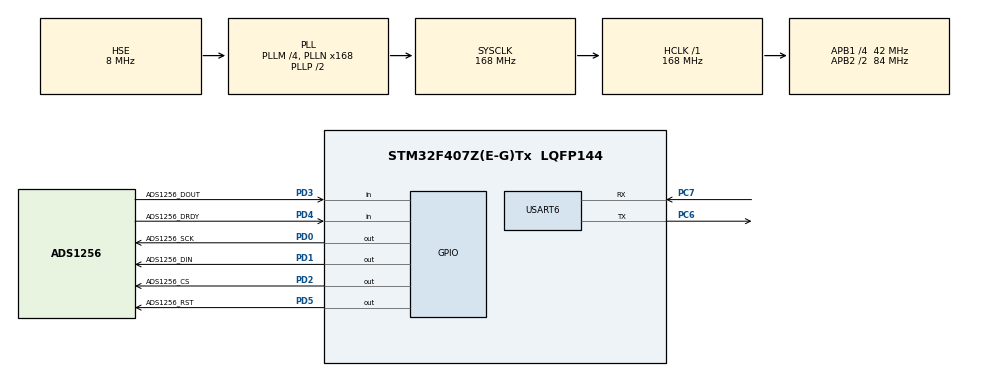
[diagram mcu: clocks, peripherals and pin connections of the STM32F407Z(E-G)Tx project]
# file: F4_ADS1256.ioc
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Mcu.Family=STM32F4
Mcu.Name=STM32F407Z(E-G)Tx
Mcu.Package=LQFP144
NVIC.PriorityGroup=NVIC_PRIORITYGROUP_4
NVIC.TIM2_IRQn=true\:0\:0\:false\:false\:true\:true\:true\:true
PA13.Mode=Serial_Wire
PA13.Signal=SYS_JTMS-SWDIO
PA14.Mode=Serial_Wire
PA14.Signal=SYS_JTCK-SWCLK
PC14-OSC32_IN.Mode=LSE-External-Oscillator
PC14-OSC32_IN.Signal=RCC_OSC32_IN
PC15-OSC32_OUT.Mode=LSE-External-Oscillator
PC15-OSC32_OUT.Signal=RCC_OSC32_OUT
PC6.Mode=Asynchronous
PC6.Signal=USART6_TX
PC7.Mode=Asynchronous
PC7.Signal=USART6_RX
PD0.GPIO_Label=ADS1256_SCK
PD0.GPIO_Speed=GPIO_SPEED_FREQ_VERY_HIGH
PD0.Signal=GPIO_Output
PD1.GPIO_Label=ADS1256_DIN
PD1.GPIO_Speed=GPIO_SPEED_FREQ_VERY_HIGH
PD1.Signal=GPIO_Output
PD2.GPIO_Label=ADS1256_CS
PD2.GPIO_Speed=GPIO_SPEED_FREQ_VERY_HIGH
PD2.Signal=GPIO_Output
PD3.GPIO_Label=ADS1256_DOUT
PD3.Signal=GPIO_Input
PD4.GPIO_Label=ADS1256_DRDY
PD4.GPIO_PuPd=GPIO_PULLDOWN
PD4.Signal=GPIO_Input
PD5.GPIO_Label=ADS1256_RST
PD5.GPIO_Speed=GPIO_SPEED_FREQ_VERY_HIGH
PD5.Signal=GPIO_Output
PH0-OSC_IN.Mode=HSE-External-Oscillator
PH0-OSC_IN.Signal=RCC_OSC_IN
PH1-OSC_OUT.Mode=HSE-External-Oscillator
PH1-OSC_OUT.Signal=RCC_OSC_OUT
ProjectManager.HeapSize=0x200
ProjectManager.StackSize=0x800
ProjectManager.TargetToolchain=STM32CubeIDE
RCC.48MHZClocksFreq_Value=84000000
RCC.AHBFreq_Value=168000000
RCC.APB1CLKDivider=RCC_HCLK_DIV4
RCC.APB1Freq_Value=42000000
RCC.APB1TimFreq_Value=84000000
RCC.APB2CLKDivider=RCC_HCLK_DIV2
RCC.APB2Freq_Value=84000000
RCC.APB2TimFreq_Value=168000000
RCC.CortexFreq_Value=168000000
RCC.HCLKFreq_Value=168000000
RCC.HSE_VALUE=8000000
RCC.HSI_VALUE=16000000
RCC.PLLM=4
RCC.PLLN=168
RCC.PLLSourceVirtual=RCC_PLLSOURCE_HSE
RCC.SYSCLKFreq_VALUE=168000000
RCC.SYSCLKSource=RCC_SYSCLKSOURCE_PLLCLK
RCC.VCOOutputFreq_Value=336000000
TIM2.AutoReloadPreload=TIM_AUTORELOAD_PRELOAD_ENABLE
TIM2.Period=100-1
TIM2.Prescaler=840-1
USART6.VirtualMode=VM_ASYNC
VP_TIM2_VS_ClockSourceINT.Mode=Internal
board=custom

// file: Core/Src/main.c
/* USER CODE BEGIN Header */
/**
  ******************************************************************************
  * @file           : main.c
  * @brief          : Main program body
  ******************************************************************************
  * @attention
  *
  * Copyright (c) 2022 STMicroelectronics.
  * All rights reserved.
  *
  * This software is licensed under terms that can be found in the LICENSE file
  * in the root directory of this software component.
  * If no LICENSE file comes with this software, it is provided AS-IS.
  *
  ******************************************************************************
  */
/* USER CODE END Header */
#include "main.h"
#include "tim.h"
#include "usart.h"
#include "gpio.h"

/* USER CODE BEGIN Includes */
#include "base.h"
#include "ADS1256.h"
#include "stdlib.h"
#include "string.h"
#include "stdio.h"
#include "stdarg.h"
/* USER CODE END Includes */

/* USER CODE BEGIN PTD */
u16 Get_flag=0;
float volt = 0;
uint32_t adc;
/* USER CODE END PTD */

/* USER CODE BEGIN PD */
#define Num 10
/* USER CODE END PD */

void SystemClock_Config(void);

/* USER CODE BEGIN 0 */
/**
 * @brief  多串口重定向
 * @retval None
 **/
void print(UART_HandleTypeDef* huart, const char* buf, ...)
{
  char str[2048] = {0};
  va_list v;
  va_start(v, buf);
  vsprintf(str, buf, v); 	//使用可变参数的字符串打印。类似sprintf
  HAL_UART_Transmit(huart,(uint8_t*)str,strlen(str),0xffff);
  va_end(v);
}

void Get_AD_Value()
{
	Get_flag=0;
	HAL_TIM_Base_Start_IT(&htim2);
	while(Get_flag!=Num){}
	print(&huart6,"%.2f\r\n",volt);
	HAL_TIM_Base_Stop_IT(&htim2);

}
/* USER CODE END 0 */

int main(void)
{

  /* MCU Configuration--------------------------------------------------------*/

  /* Reset of all peripherals, Initializes the Flash interface and the Systick. */
  HAL_Init();

  /* Configure the system clock */
  SystemClock_Config();

  /* Initialize all configured peripherals */
  MX_GPIO_Init();
  MX_USART6_UART_Init();
  MX_TIM2_Init();
  /* USER CODE BEGIN 2 */
  delay_init(168);
  ADS1256_Init();
  /* USER CODE END 2 */

  /* Infinite loop */
  /* USER CODE BEGIN WHILE */

  ADS1256_CfgADC(PGA_1, DATARATE_30K);	//增益1:1, 数据30kHz
//  adc = ADS1256_GetAdc(AIN0);	 	// 从全局缓冲区读取采样结果。 采样结果是在中断服务程序中读取的
//  volt = adc * AD24_mV_Scale;
  while (1)
  {
    /* USER CODE END WHILE */

    /* USER CODE BEGIN 3 */
//	  adc = ADS1256_GetAdc(AIN0);	 	// 从全局缓冲区读取采样结果。 采样结果是在中断服务程序中读取的
//	  volt = adc * AD24_mV_Scale;
//	  print(&huart6,"%.2f\r\n",volt);
	  Get_AD_Value();
	  delay_ms(100);
//	  adc = (adc ^ 0x800000);				// 4194303 = 2.5V , 这是理论值，实际可以根据2.5V基准的实际值进行公式矫正
//	  volt = (((0.596047*adc)-5000000)/1000000);  // 测量出来是以v作单位
  }
  /* USER CODE END 3 */
}

void SystemClock_Config(void)
{
  RCC_OscInitTypeDef RCC_OscInitStruct = {0};
  RCC_ClkInitTypeDef RCC_ClkInitStruct = {0};

  /** Configure the main internal regulator output voltage
  */
  __HAL_RCC_PWR_CLK_ENABLE();
  __HAL_PWR_VOLTAGESCALING_CONFIG(PWR_REGULATOR_VOLTAGE_SCALE1);

  /** Initializes the RCC Oscillators according to the specified parameters
  * in the RCC_OscInitTypeDef structure.
  */
  RCC_OscInitStruct.OscillatorType = RCC_OSCILLATORTYPE_HSE;
  RCC_OscInitStruct.HSEState = RCC_HSE_ON;
  RCC_OscInitStruct.PLL.PLLState = RCC_PLL_ON;
  RCC_OscInitStruct.PLL.PLLSource = RCC_PLLSOURCE_HSE;
  RCC_OscInitStruct.PLL.PLLM = 4;
  RCC_OscInitStruct.PLL.PLLN = 168;
  RCC_OscInitStruct.PLL.PLLP = RCC_PLLP_DIV2;
  RCC_OscInitStruct.PLL.PLLQ = 4;
  if (HAL_RCC_OscConfig(&RCC_OscInitStruct) != HAL_OK)
  {
    Error_Handler();
  }

  /** Initializes the CPU, AHB and APB buses clocks
  */
  RCC_ClkInitStruct.ClockType = RCC_CLOCKTYPE_HCLK|RCC_CLOCKTYPE_SYSCLK
                              |RCC_CLOCKTYPE_PCLK1|RCC_CLOCKTYPE_PCLK2;
  RCC_ClkInitStruct.SYSCLKSource = RCC_SYSCLKSOURCE_PLLCLK;
  RCC_ClkInitStruct.AHBCLKDivider = RCC_SYSCLK_DIV1;
  RCC_ClkInitStruct.APB1CLKDivider = RCC_HCLK_DIV4;
  RCC_ClkInitStruct.APB2CLKDivider = RCC_HCLK_DIV2;

  if (HAL_RCC_ClockConfig(&RCC_ClkInitStruct, FLASH_LATENCY_5) != HAL_OK)
  {
    Error_Handler();
  }
}

/* USER CODE BEGIN 4 */
void HAL_TIM_PeriodElapsedCallback(TIM_HandleTypeDef *htim)
{
	if(Get_flag<Num)
	{
		adc = ADS1256_GetAdc(AIN0);
		volt = adc * AD24_mV_Scale;
		Get_flag++;
	}
}
/* USER CODE END 4 */

void Error_Handler(void)
{
  __disable_irq();
  while (1)
  {
  }
}
